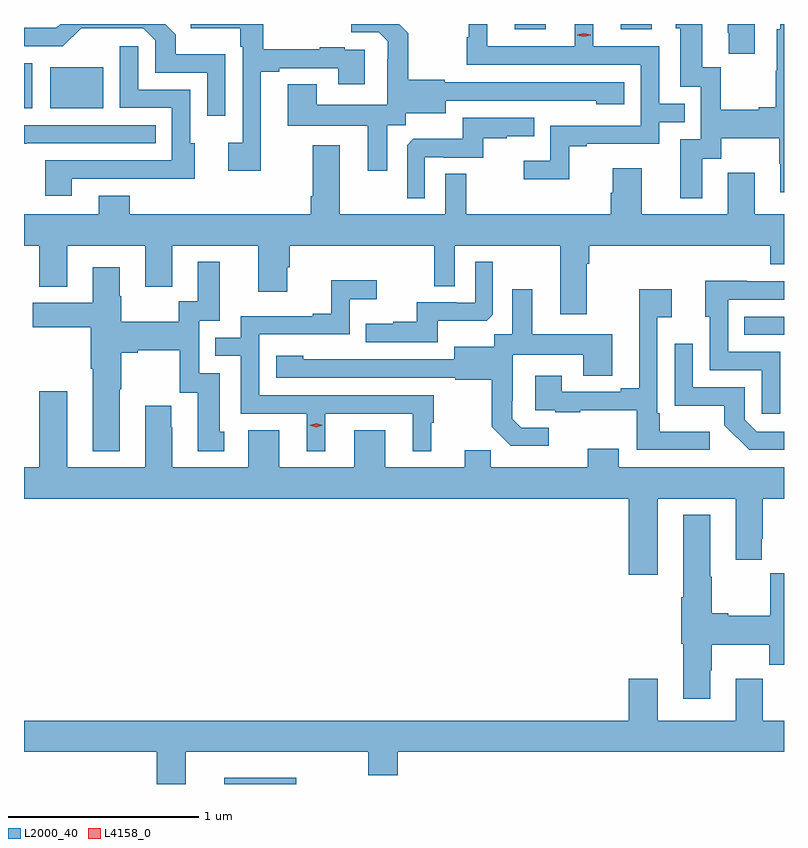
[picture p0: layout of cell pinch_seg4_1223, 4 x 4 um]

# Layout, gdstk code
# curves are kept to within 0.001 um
import gdstk
lib = gdstk.Library(unit=1e-6, precision=1e-09)
def R(c, l, rs):  # rectangles x0, y0, x1, y1
    for r in rs: c.add(gdstk.rectangle(r[:2], r[2:], *l))
def P(c, l, *ps):  # polygons
    for p in ps: c.add(gdstk.Polygon(p, *l))
L2000_40 = (2000, 40)
L4158_0 = (4158, 0)

pinch_seg4_1223 = lib.new_cell('pinch_seg4_1223')
R(pinch_seg4_1223, L2000_40, [(142.589,813.966,142.969,814), (145.327,816.33,145.536,816.426), (141.536,817.523,141.58,817.759), (141.674,817.523,141.952,817.738), (144.119,817.938,144.283,817.966), (144.677,817.938,144.841,817.966)])
P(pinch_seg4_1223, L2000_40, [(142.596,817.807),(142.335,817.807),(142.335,817.91),(142.279,817.966),(141.727,817.966),(141.707,817.946),(141.536,817.946),(141.536,817.848),(141.741,817.848),(141.836,817.943),(142.164,817.944),(142.227,817.881),(142.227,817.71),(142.5,817.71),(142.5,817.482),(142.596,817.482)],
  [(142.783,817.716),(142.879,817.716),(142.879,817.734),(143.189,817.734),(143.189,817.65),(143.329,817.65),(143.329,817.83),(143.225,817.83),(143.225,817.843),(143.093,817.843),(143.093,817.832),(142.795,817.832),(142.795,817.966),(142.413,817.966),(142.413,817.943),(142.674,817.943),(142.674,817.847),(142.686,817.847),(142.686,817.342),(142.611,817.342),(142.611,817.194),(142.783,817.194)],
  [(143.449,817.432),(143.544,817.432),(143.544,817.496),(143.755,817.496),(143.755,817.563),(144.549,817.562),(144.549,817.544),(144.694,817.544),(144.694,817.659),(143.751,817.659),(143.751,817.672),(143.559,817.672),(143.559,817.917),(143.51,817.966),(143.259,817.966),(143.259,817.923),(143.403,817.923),(143.45,817.876),(143.45,817.781),(143.448,817.781),(143.448,817.54),(143.077,817.54),(143.077,817.649),(142.925,817.649),(142.925,817.43),(143.345,817.43),(143.345,817.194),(143.449,817.194)],
  [(145.105,817.258),(145.207,817.258),(145.207,817.364),(145.51,817.364),(145.51,817.23),(145.517,817.23),(145.517,817.08),(145.536,817.08),(145.536,817.966),(145.517,817.966),(145.517,817.938),(145.499,817.938),(145.499,817.721),(145.492,817.721),(145.492,817.529),(145.403,817.529),(145.403,817.516),(145.203,817.516),(145.203,817.739),(145.105,817.739),(145.105,817.966),(144.965,817.966),(144.965,817.944),(144.989,817.944),(144.989,817.635),(145.098,817.635),(145.098,817.359),(144.989,817.359),(144.989,817.05),(145.105,817.05)],
  [(144.405,817.323),(144.499,817.323),(144.499,817.335),(144.879,817.335),(144.879,817.449),(145.013,817.449),(145.013,817.545),(144.879,817.545),(144.879,817.848),(144.532,817.848),(144.532,817.966),(144.434,817.966),(144.434,817.848),(143.974,817.848),(143.974,817.966),(143.876,817.966),(143.876,817.896),(143.865,817.896),(143.865,817.752),(144.783,817.752),(144.783,817.431),(144.306,817.431),(144.306,817.246),(144.165,817.246),(144.165,817.148),(144.405,817.148)],
  [(145.381,817.966),(145.241,817.966),(145.241,817.921),(145.244,817.921),(145.244,817.809),(145.381,817.809)],
  [(141.787,817.152),(142.217,817.152),(142.217,817.151),(142.435,817.151),(142.435,817.338),(142.41,817.338),(142.41,817.62),(142.137,817.62),(142.137,817.849),(142.041,817.849),(142.041,817.524),(142.314,817.524),(142.314,817.248),(141.647,817.248),(141.647,817.062),(141.787,817.062)],
  [(143.646,817.266),(143.746,817.266),(143.746,817.263),(143.954,817.263),(143.954,817.365),(144.077,817.365),(144.077,817.376),(144.221,817.376),(144.221,817.473),(143.844,817.473),(143.844,817.361),(143.585,817.361),(143.553,817.329),(143.553,817.049),(143.646,817.049)],
  [(141.551,817.338),(142.229,817.338),(142.229,817.434),(141.536,817.434),(141.536,817.337),(141.551,817.337)],
  [(141.929,817.063),(141.929,816.964),(141.536,816.964),(141.536,816.8),(141.616,816.8),(141.616,816.584),(141.763,816.584),(141.763,816.8),(142.175,816.8),(142.175,816.582),(142.315,816.582),(142.315,816.8),(142.769,816.8),(142.769,816.558),(142.921,816.558),(142.921,816.687),(142.934,816.687),(142.934,816.8),(143.694,816.8),(143.694,816.586),(143.802,816.586),(143.802,816.8),(144.359,816.8),(144.359,816.438),(144.499,816.438),(144.499,816.704),(144.512,816.704),(144.512,816.8),(145.463,816.8),(145.463,816.701),(145.536,816.701),(145.536,816.964),(145.381,816.964),(145.381,817.183),(145.241,817.183),(145.241,816.964),(144.787,816.964),(144.787,817.207),(144.635,817.207),(144.635,817.077),(144.623,817.077),(144.623,816.964),(143.863,816.964),(143.863,817.178),(143.754,817.178),(143.754,816.964),(143.197,816.964),(143.197,817.327),(143.057,817.327),(143.057,817.06),(143.045,817.06),(143.045,816.964),(142.093,816.964),(142.093,817.063)],
  [(143.713,816.404),(143.971,816.404),(144.003,816.435),(144.003,816.715),(143.91,816.715),(143.91,816.498),(143.81,816.498),(143.81,816.501),(143.603,816.501),(143.603,816.4),(143.479,816.4),(143.479,816.388),(143.335,816.388),(143.335,816.291),(143.713,816.291)],
  [(142.039,816.043),(142.047,816.043),(142.047,816.236),(142.135,816.236),(142.135,816.248),(142.355,816.248),(142.355,816.024),(142.451,816.024),(142.451,815.718),(142.591,815.718),(142.591,815.82),(142.567,815.82),(142.567,816.129),(142.458,816.129),(142.458,816.405),(142.567,816.405),(142.567,816.715),(142.451,816.715),(142.451,816.506),(142.35,816.506),(142.35,816.4),(142.047,816.4),(142.047,816.534),(142.039,816.534),(142.039,816.685),(141.899,816.685),(141.899,816.499),(141.582,816.499),(141.582,816.37),(141.887,816.37),(141.887,816.152),(141.899,816.152),(141.899,815.717),(142.039,815.717)],
  [(143.122,815.916),(143.582,815.916),(143.582,815.717),(143.68,815.717),(143.68,815.868),(143.692,815.868),(143.692,816.012),(142.773,816.012),(142.773,816.333),(143.25,816.333),(143.25,816.518),(143.392,816.518),(143.392,816.617),(143.152,816.617),(143.152,816.442),(143.057,816.442),(143.057,816.429),(142.677,816.429),(142.677,816.315),(142.543,816.315),(142.543,816.219),(142.677,816.219),(142.677,815.916),(143.024,815.916),(143.024,815.717),(143.122,815.717)],
  [(145.515,816.24),(145.242,816.24),(145.242,816.516),(145.536,816.516),(145.536,816.612),(145.339,816.612),(145.339,816.614),(145.121,816.614),(145.121,816.426),(145.146,816.426),(145.146,816.144),(145.419,816.144),(145.419,815.916),(145.515,815.916)],
  [(145.144,815.821),(144.883,815.821),(144.883,815.917),(144.87,815.917),(144.87,816.422),(144.946,816.422),(144.946,816.571),(144.773,816.571),(144.773,816.049),(144.677,816.049),(144.677,816.03),(144.367,816.03),(144.367,816.115),(144.227,816.115),(144.227,815.934),(144.331,815.934),(144.331,815.922),(144.463,815.922),(144.463,815.933),(144.762,815.933),(144.762,815.724),(145.144,815.724)],
  [(144.298,815.841),(144.153,815.841),(144.106,815.888),(144.106,815.983),(144.108,815.983),(144.108,816.224),(144.479,816.224),(144.479,816.115),(144.631,816.115),(144.631,816.334),(144.211,816.334),(144.211,816.571),(144.107,816.571),(144.107,816.332),(144.012,816.332),(144.012,816.268),(143.801,816.268),(143.801,816.201),(143.007,816.202),(143.007,816.22),(142.863,816.22),(142.863,816.105),(143.805,816.105),(143.805,816.093),(143.997,816.093),(143.997,815.847),(144.097,815.747),(144.298,815.747)],
  [(145.536,815.82),(145.392,815.82),(145.329,815.883),(145.329,816.054),(145.056,816.054),(145.056,816.283),(144.96,816.283),(144.96,815.957),(145.222,815.957),(145.222,815.855),(145.352,815.724),(145.536,815.724)],
  [(144.871,815.468),(145.283,815.468),(145.283,815.145),(145.42,815.145),(145.42,815.257),(145.423,815.257),(145.423,815.468),(145.536,815.468),(145.536,815.632),(144.667,815.632),(144.667,815.731),(144.503,815.731),(144.503,815.632),(143.993,815.632),(143.993,815.723),(143.855,815.723),(143.855,815.632),(143.437,815.632),(143.437,815.827),(143.273,815.827),(143.273,815.632),(142.879,815.632),(142.879,815.827),(142.715,815.827),(142.715,815.632),(142.315,815.632),(142.315,815.843),(142.312,815.843),(142.312,815.956),(142.175,815.956),(142.175,815.632),(141.763,815.632),(141.763,816.034),(141.616,816.034),(141.616,815.632),(141.536,815.632),(141.536,815.468),(144.719,815.468),(144.719,815.067),(144.871,815.067)],
  [(145.147,814.566),(145.155,814.566),(145.155,814.7),(145.458,814.7),(145.458,814.594),(145.536,814.594),(145.536,815.076),(145.463,815.076),(145.463,814.852),(145.243,814.852),(145.243,814.865),(145.155,814.865),(145.155,815.057),(145.147,815.057),(145.147,815.383),(145.007,815.383),(145.007,814.948),(144.995,814.948),(144.995,814.704),(145.007,814.704),(145.007,814.416),(145.147,814.416)],
  [(142.387,814.136),(143.347,814.136),(143.347,814.012),(143.504,814.012),(143.504,814.136),(145.536,814.136),(145.536,814.3),(145.423,814.3),(145.423,814.519),(145.283,814.519),(145.283,814.3),(144.871,814.3),(144.871,814.519),(144.719,814.519),(144.719,814.3),(141.536,814.3),(141.536,814.136),(142.235,814.136),(142.235,813.966),(142.387,813.966)])
P(pinch_seg4_1223, L4158_0, [(143.073,815.844),(143.038,815.854),(143.037,815.854),(143.038,815.854),(143.073,815.864),(143.108,815.854),(143.109,815.854),(143.108,815.854)],
  [(144.483,817.898),(144.447,817.908),(144.447,817.908),(144.447,817.909),(144.483,817.918),(144.519,817.909),(144.519,817.908),(144.519,817.908)])

lib.write_gds('pinch_seg4_1223.gds')
